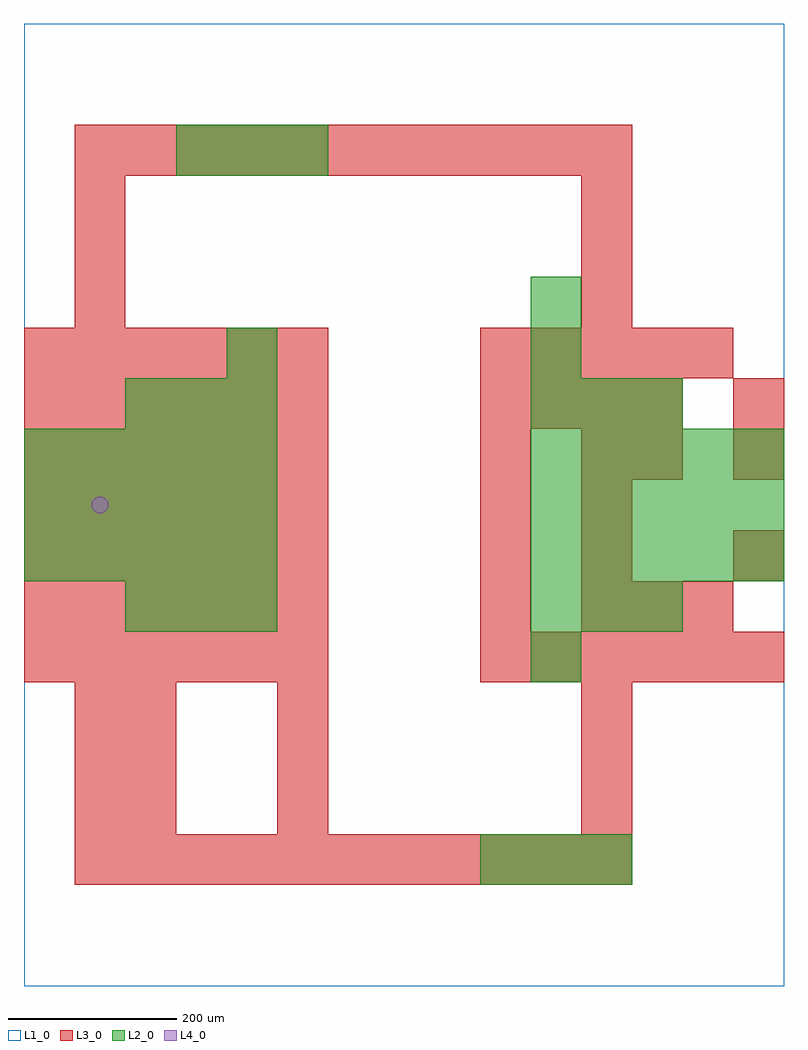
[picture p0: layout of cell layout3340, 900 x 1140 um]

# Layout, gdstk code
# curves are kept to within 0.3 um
import gdstk
lib = gdstk.Library(unit=1e-6, precision=1e-09)
def R(c, l, rs):  # rectangles x0, y0, x1, y1
    for r in rs: c.add(gdstk.rectangle(r[:2], r[2:], *l))
def A(c, l, x, y, w, h, nx, ny, dx, dy):  # array of equal rectangles
    R(c, l, [(x+i*dx, y+j*dy, x+i*dx+w, y+j*dy+h) for i in range(nx) for j in range(ny)])
def P(c, l, *ps):  # polygons
    for p in ps: c.add(gdstk.Polygon(p, *l))
L1_0 = (1, 0)
L2_0 = (2, 0)
L3_0 = (3, 0)
L4_0 = (4, 0)

layout3340 = lib.new_cell('layout3340')
R(layout3340, L1_0, [(0,0,900,1140)])
A(layout3340, L2_0, 540, 120, 60, 60, 3, 1, 60, 0)
A(layout3340, L2_0, 120, 420, 60, 60, 3, 2, 60, 240)
A(layout3340, L2_0, 600, 420, 60, 60, 3, 2, 60, 240)
A(layout3340, L2_0, 0, 480, 60, 60, 5, 3, 60, 60)
A(layout3340, L2_0, 600, 480, 60, 60, 5, 3, 60, 60)
A(layout3340, L2_0, 180, 960, 60, 60, 3, 1, 60, 0)
R(layout3340, L2_0, [(600,360,660,420), (240,720,300,780), (600,720,660,780), (600,780,660,840)])
A(layout3340, L3_0, 60, 120, 60, 60, 11, 2, 60, 840)
A(layout3340, L3_0, 60, 180, 60, 60, 1, 3, 0, 60)
A(layout3340, L3_0, 120, 180, 60, 60, 1, 3, 0, 60)
A(layout3340, L3_0, 300, 180, 60, 60, 1, 3, 0, 60)
A(layout3340, L3_0, 660, 180, 60, 60, 1, 3, 0, 60)
A(layout3340, L3_0, 0, 360, 60, 60, 6, 7, 60, 60)
A(layout3340, L3_0, 540, 360, 60, 60, 6, 1, 60, 0)
A(layout3340, L3_0, 540, 420, 60, 60, 1, 4, 0, 60)
A(layout3340, L3_0, 660, 420, 60, 60, 3, 1, 60, 0)
A(layout3340, L3_0, 660, 480, 60, 60, 1, 3, 0, 60)
A(layout3340, L3_0, 540, 660, 60, 60, 4, 1, 60, 0)
A(layout3340, L3_0, 540, 720, 60, 60, 5, 1, 60, 0)
A(layout3340, L3_0, 60, 780, 60, 60, 1, 3, 0, 60)
A(layout3340, L3_0, 660, 780, 60, 60, 1, 3, 0, 60)
R(layout3340, L3_0, [(840,480,900,540), (720,600,780,660), (840,600,900,660), (840,660,900,720)])
P(layout3340, L4_0, [(100,570),(99.239,573.827),(97.071,577.071),(93.827,579.239),(90,580),(86.173,579.239),(82.929,577.071),(80.761,573.827),(80,570),(80.761,566.173),(82.929,562.929),(86.173,560.761),(90,560),(93.827,560.761),(97.071,562.929),(99.239,566.173)])

lib.write_gds('layout3340.gds')
